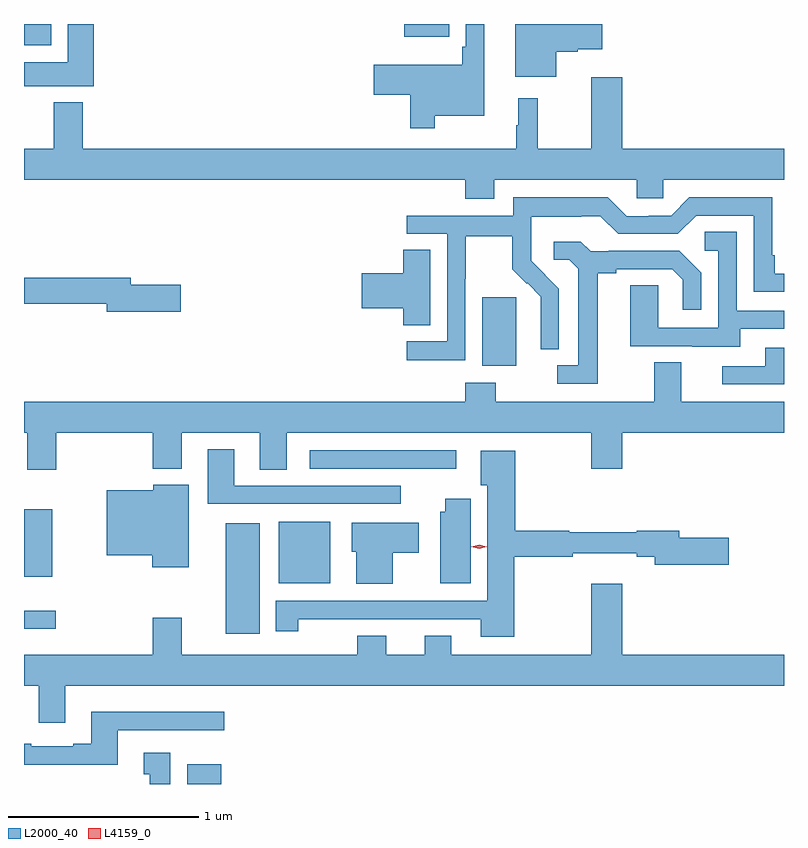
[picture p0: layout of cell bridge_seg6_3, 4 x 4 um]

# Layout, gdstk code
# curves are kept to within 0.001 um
import gdstk
lib = gdstk.Library(unit=1e-6, precision=1e-09)
def R(c, l, rs):  # rectangles x0, y0, x1, y1
    for r in rs: c.add(gdstk.rectangle(r[:2], r[2:], *l))
def P(c, l, *ps):  # polygons
    for p in ps: c.add(gdstk.Polygon(p, *l))
L2000_40 = (2000, 40)
L4159_0 = (4159, 0)

bridge_seg6_3 = lib.new_cell('bridge_seg6_3')
R(bridge_seg6_3, L2000_40, [(930.113,958.808,930.292,958.912), (930.317,959.6,930.496,960.181), (929.255,959.624,929.422,959.721), (930.596,959.864,930.868,960.187), (929.255,959.9,929.404,960.253), (930.759,960.468,931.531,960.564), (931.667,961.01,931.846,961.371), (929.255,962.696,929.398,962.808), (931.256,962.741,931.492,962.808)])
P(bridge_seg6_3, L2000_40, [(929.621,962.808),(929.486,962.808),(929.486,962.608),(929.255,962.608),(929.255,962.48),(929.621,962.48)],
  [(931.417,962.324),(931.678,962.324),(931.678,962.808),(931.581,962.808),(931.581,962.689),(931.561,962.689),(931.561,962.593),(931.095,962.593),(931.095,962.435),(931.288,962.435),(931.288,962.259),(931.417,962.259)],
  [(932.056,962.663),(932.169,962.663),(932.169,962.675),(932.299,962.675),(932.299,962.808),(931.841,962.808),(931.841,962.531),(932.056,962.531)],
  [(931.729,961.988),(932.481,961.988),(932.481,961.89),(932.619,961.89),(932.619,961.988),(933.255,961.988),(933.255,962.152),(932.404,962.152),(932.404,962.527),(932.24,962.527),(932.24,962.152),(931.958,962.152),(931.958,962.416),(931.856,962.416),(931.856,962.276),(931.845,962.276),(931.845,962.152),(929.564,962.152),(929.564,962.395),(929.411,962.395),(929.411,962.152),(929.255,962.152),(929.255,961.988),(931.577,961.988),(931.577,961.889),(931.729,961.889)],
  [(931.578,961.468),(931.581,961.468),(931.581,961.692),(931.825,961.692),(931.825,961.517),(931.902,961.44),(931.905,961.443),(931.976,961.373),(931.976,961.25),(931.974,961.25),(931.974,961.096),(932.07,961.096),(932.07,961.414),(931.924,961.562),(931.924,961.659),(931.926,961.659),(931.926,961.793),(932.189,961.793),(932.189,961.797),(932.289,961.797),(932.382,961.704),(932.697,961.704),(932.793,961.8),(933.096,961.8),(933.096,961.398),(933.255,961.398),(933.255,961.494),(933.205,961.494),(933.205,961.591),(933.192,961.591),(933.192,961.896),(932.757,961.896),(932.661,961.8),(932.543,961.8),(932.543,961.797),(932.427,961.797),(932.327,961.897),(931.83,961.897),(931.83,961.8),(931.269,961.8),(931.269,961.704),(931.482,961.704),(931.482,961.137),(931.269,961.137),(931.269,961.039),(931.578,961.039)],
  [(933.025,961.203),(933.255,961.203),(933.255,961.299),(933.006,961.299),(933.006,961.715),(932.838,961.715),(932.838,961.614),(932.91,961.614),(932.91,961.209),(932.592,961.209),(932.592,961.433),(932.447,961.433),(932.447,961.113),(932.771,961.113),(932.771,961.109),(933.025,961.109)],
  [(932.275,961.496),(932.371,961.496),(932.371,961.518),(932.666,961.518),(932.723,961.461),(932.723,961.305),(932.82,961.305),(932.82,961.498),(932.704,961.614),(932.332,961.614),(932.332,961.611),(932.238,961.611),(932.186,961.663),(932.043,961.663),(932.043,961.566),(932.124,961.566),(932.171,961.519),(932.171,961.011),(932.061,961.011),(932.061,960.915),(932.275,960.915)],
  [(931.393,961.619),(931.25,961.619),(931.25,961.496),(931.032,961.496),(931.032,961.313),(931.25,961.313),(931.25,961.222),(931.393,961.222)],
  [(930.079,961.436),(929.818,961.436),(929.818,961.472),(929.255,961.472),(929.255,961.336),(929.69,961.336),(929.69,961.294),(930.079,961.294)],
  [(933.255,961.104),(933.155,961.104),(933.155,961.008),(932.931,961.008),(932.931,960.912),(933.255,960.912)],
  [(929.426,960.656),(929.933,960.656),(929.933,960.467),(930.085,960.467),(930.085,960.656),(930.497,960.656),(930.497,960.463),(930.637,960.463),(930.637,960.656),(932.24,960.656),(932.24,960.468),(932.404,960.468),(932.404,960.656),(933.255,960.656),(933.255,960.82),(932.713,960.82),(932.713,961.028),(932.573,961.028),(932.573,960.82),(931.737,960.82),(931.737,960.919),(931.577,960.919),(931.577,960.82),(929.255,960.82),(929.255,960.656),(929.273,960.656),(929.273,960.462),(929.426,960.462)],
  [(931.237,960.378),(930.361,960.378),(930.361,960.571),(930.221,960.571),(930.221,960.282),(931.237,960.282)],
  [(931.836,960.004),(932.144,960.004),(932.144,960.023),(932.48,960.023),(932.48,960.004),(932.576,960.004),(932.576,959.962),(932.965,959.962),(932.965,960.104),(932.704,960.104),(932.704,960.14),(932.48,960.14),(932.48,960.133),(932.124,960.133),(932.124,960.14),(931.841,960.14),(931.841,960.562),(931.658,960.562),(931.658,960.38),(931.694,960.38),(931.694,959.772),(930.581,959.772),(930.581,959.613),(930.699,959.613),(930.699,959.675),(930.926,959.675),(930.926,959.676),(931.658,959.676),(931.658,959.582),(931.836,959.582)],
  [(930.121,960.382),(929.934,960.382),(929.934,960.355),(929.69,960.355),(929.69,960.011),(929.93,960.011),(929.93,959.948),(930.121,959.948)],
  [(931.606,960.31),(931.472,960.31),(931.472,960.24),(931.445,960.24),(931.445,959.864),(931.606,959.864)],
  [(931.195,960.026),(931.333,960.026),(931.333,960.184),(930.98,960.184),(930.98,960.03),(931.004,960.03),(931.004,959.861),(931.195,959.861)],
  [(929.473,959.324),(933.255,959.324),(933.255,959.488),(932.404,959.488),(932.404,959.863),(932.24,959.863),(932.24,959.488),(931.504,959.488),(931.504,959.587),(931.364,959.587),(931.364,959.488),(931.162,959.488),(931.162,959.587),(931.01,959.587),(931.01,959.488),(930.085,959.488),(930.085,959.683),(929.933,959.683),(929.933,959.488),(929.255,959.488),(929.255,959.324),(929.333,959.324),(929.333,959.13),(929.473,959.13)],
  [(929.749,959.091),(930.31,959.091),(930.31,959.188),(929.609,959.188),(929.609,959.02),(929.513,959.02),(929.513,959.007),(929.293,959.007),(929.293,959.02),(929.255,959.02),(929.255,958.91),(929.749,958.91)],
  [(930.025,958.972),(929.885,958.972),(929.885,958.859),(929.918,958.859),(929.918,958.808),(930.025,958.808)])
P(bridge_seg6_3, L4159_0, [(931.65,960.047),(931.61,960.057),(931.61,960.058),(931.61,960.058),(931.65,960.067),(931.69,960.057),(931.69,960.057),(931.69,960.057)])

lib.write_gds('bridge_seg6_3.gds')
